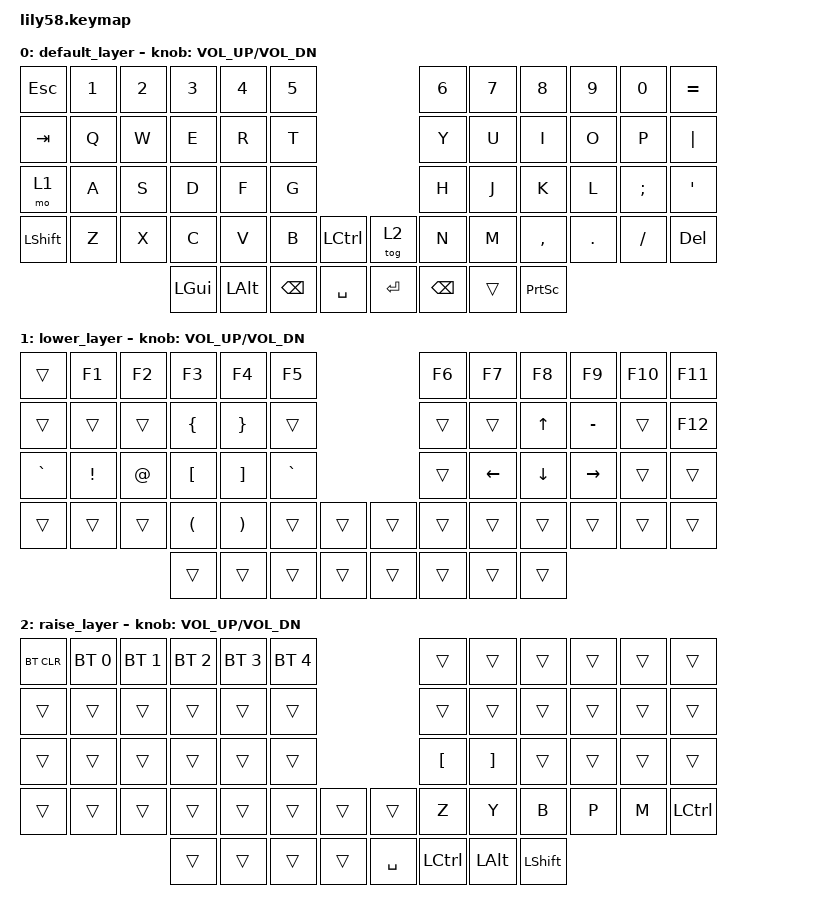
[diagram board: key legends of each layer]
/*
 * Copyright (c) 2020 The ZMK Contributors
 *
 * SPDX-License-Identifier: MIT
 */

#include <behaviors.dtsi>
#include <dt-bindings/zmk/keys.h>
#include <dt-bindings/zmk/bt.h>
#include <dt-bindings/zmk/ext_power.h>

/ {
	keymap {
		compatible = "zmk,keymap";

		default_layer {
// ------------------------------------------------------------------------------------------------------------
// |  ESC  |  1  |  2  |  3   |  4   |  5   |                   |  6   |  7    |  8    |  9   |   0   |   =   |
// |  TAB  |  Q  |  W  |  E   |  R   |  T   |                   |  Y   |  U    |  I    |  O   |   P   |  "|"  |
// | LOWER |  A  |  S  |  D   |  F   |  G   |                   |  H   |  J    |  K    |  L   |   ;   |   '   |
// | SHIFT |  Z  |  X  |  C   |  V   |  B   |  LCTRL |  | RAISE |  N   |  M    |  ,    |  .   |   /   |  DEL  |
//                     | GUI  | ALT  | BSPC |  SPACE |  | ENTER |      | BSPC  |       |
			bindings = <
&kp ESC   &kp N1 &kp N2 &kp N3   &kp N4   &kp N5                        &kp N6 &kp N7   &kp N8    &kp N9  &kp N0   &kp EQUAL
&kp TAB   &kp Q  &kp W  &kp E    &kp R    &kp T                         &kp Y  &kp U    &kp I     &kp O   &kp P    &kp PIPE
&mo 1     &kp A  &kp S  &kp D    &kp F    &kp G                         &kp H  &kp J    &kp K     &kp L   &kp SEMI &kp SQT
&kp LSHFT &kp Z  &kp X  &kp C    &kp V    &kp B     &kp LCTRL  &tog 2   &kp N  &kp M    &kp COMMA &kp DOT &kp FSLH &kp DELETE
                        &kp LGUI &kp LALT &kp BSPC  &kp SPACE  &kp RET  &kp BSPC  &trans &kp PRINTSCREEN
			>;

			sensor-bindings = <&inc_dec_kp C_VOL_UP C_VOL_DN>;
		};

		lower_layer {
// ------------------------------------------------------------------------------------------------------------
// |       |  F1 |  F2 |  F3  |  F4  |  F5  |                   |  F6  |  F7   |   F8  |  F9  |  F10  |  F11  |
// |       |     |     |      |      |      |                   |      |       |   ^   |      |       |  F12  |
// |       |     |     |      |      |  `   |                   |      |   <-  |   v   |  ->  |       |       |
// |       |     |     |      |      |      |        |  |       |      |  _    |  +    |  {   |   }   |  "|"  |
//                     |      |      |      |        |  |       |      |       |       |
			bindings = <
&trans     &kp F1           &kp F2            &kp F3            &kp F4       &kp F5                       &kp F6    &kp F7    &kp F8          &kp F9     &kp F10     &kp F11
&trans     &trans           &trans            &kp LBRC          &kp RBRC     &trans                       &trans    &trans    &kp UP          &kp MINUS  &trans      &kp F12
&kp GRAVE  &kp EXCL         &kp AT            &kp LBKT          &kp RBKT     &kp GRAVE                    &trans    &kp LEFT  &kp DOWN        &kp RIGHT  &trans      &trans
&trans     &trans           &trans            &kp LPAR          &kp RPAR     &trans    &trans    &trans   &trans    &trans    &trans          &trans     &trans      &trans
                                              &trans            &trans       &trans    &trans    &trans   &trans    &trans    &trans
			>;

			sensor-bindings = <&inc_dec_kp C_VOL_UP C_VOL_DN>;
		};

		raise_layer {
// ------------------------------------------------------------------------------------------------------------
// |       |     |     |      |      |      |                   |      |       |       |      |       |       |
// |   `   |  1  |  2  |  3   |  4   |  5   |                   |  6   |   7   |   8   |  9   |   0   |       |
// |   F1  |  F2 |  F3 |  F4  |  F5  |  F6  |                   |      |   <-  |   v   |  ^   |  ->   |       |
// |   F7  |  F8 |  F9 |  F10 |  F11 |  F12 |        |  |       |  +   |   -   |   =   |  [   |   ]   |   \   |
//                     |      |      |      |        |  |       |      |       |       |
			bindings = <
&bt BT_CLR  &bt BT_SEL 0  &bt BT_SEL 1   &bt BT_SEL 2    &bt BT_SEL 3   &bt BT_SEL 4                     &trans      &trans        &trans    &trans   &trans    &trans
&trans      &trans        &trans         &trans          &trans         &trans                           &trans      &trans        &trans    &trans   &trans    &trans
&trans      &trans        &trans         &trans          &trans         &trans                           &kp LBKT    &kp RBKT      &trans    &trans   &trans    &trans
&trans      &trans        &trans         &trans          &trans         &trans    &trans      &trans     &kp Z       &kp Y         &kp B     &kp P    &kp M     &kp LCTRL
                                         &trans          &trans         &trans    &trans      &kp SPACE  &kp LCTRL   &kp LALT      &kp LSHFT
			>;

			sensor-bindings = <&inc_dec_kp C_VOL_UP C_VOL_DN>;
		};
	};
};
